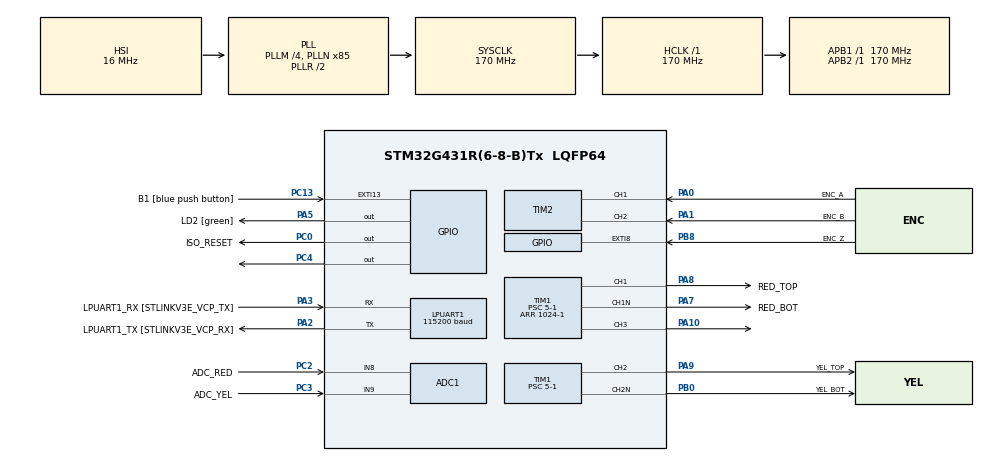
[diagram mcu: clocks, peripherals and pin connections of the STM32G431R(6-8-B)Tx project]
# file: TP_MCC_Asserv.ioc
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ADC1.Channel-1\#ChannelRegularConversion=ADC_CHANNEL_8
ADC1.Channel-4\#ChannelRegularConversion=ADC_CHANNEL_9
ADC1.ContinuousConvMode=DISABLE
ADC1.DMAContinuousRequests=ENABLE
ADC1.DiscontinuousConvMode=ENABLE
ADC1.EOCSelection=ADC_EOC_SEQ_CONV
ADC1.ExternalTrigConv=ADC_EXTERNALTRIG_T1_CC3
ADC1.NbrOfConversion=2
ADC1.NbrOfConversionFlag=1
ADC1.OffsetNumber-1\#ChannelRegularConversion=ADC_OFFSET_NONE
ADC1.OffsetNumber-4\#ChannelRegularConversion=ADC_OFFSET_NONE
ADC1.Rank-1\#ChannelRegularConversion=1
ADC1.Rank-4\#ChannelRegularConversion=2
ADC1.SamplingTime-1\#ChannelRegularConversion=ADC_SAMPLETIME_92CYCLES_5
ADC1.SamplingTime-4\#ChannelRegularConversion=ADC_SAMPLETIME_92CYCLES_5
ADC1.master=1
Dma.ADC1.0.Direction=DMA_PERIPH_TO_MEMORY
Dma.ADC1.0.EventEnable=DISABLE
Dma.ADC1.0.Instance=DMA1_Channel1
Dma.ADC1.0.MemDataAlignment=DMA_MDATAALIGN_WORD
Dma.ADC1.0.MemInc=DMA_MINC_ENABLE
Dma.ADC1.0.Mode=DMA_CIRCULAR
Dma.ADC1.0.PeriphDataAlignment=DMA_PDATAALIGN_WORD
Dma.ADC1.0.PeriphInc=DMA_PINC_DISABLE
Dma.ADC1.0.Polarity=HAL_DMAMUX_REQ_GEN_RISING
Dma.ADC1.0.Priority=DMA_PRIORITY_LOW
Dma.ADC1.0.RequestNumber=1
Dma.ADC1.0.SignalID=NONE
Dma.ADC1.0.SyncEnable=DISABLE
Dma.ADC1.0.SyncPolarity=HAL_DMAMUX_SYNC_NO_EVENT
Dma.ADC1.0.SyncRequestNumber=1
Dma.ADC1.0.SyncSignalID=NONE
Dma.Request0=ADC1
LPUART1.BaudRate=115200
LPUART1.WordLength=UART_WORDLENGTH_8B
Mcu.Family=STM32G4
Mcu.Name=STM32G431R(6-8-B)Tx
Mcu.Package=LQFP64
NVIC.ADC1_2_IRQn=true\:0\:0\:false\:false\:true\:true\:true
NVIC.DMA1_Channel1_IRQn=true\:0\:0\:false\:false\:true\:false\:true
NVIC.EXTI15_10_IRQn=true\:0\:0\:false\:false\:true\:true\:true
NVIC.EXTI9_5_IRQn=true\:0\:0\:false\:false\:true\:true\:true
NVIC.LPUART1_IRQn=true\:0\:0\:false\:false\:true\:true\:true
NVIC.PriorityGroup=NVIC_PRIORITYGROUP_4
NVIC.TIM6_DAC_IRQn=true\:0\:0\:false\:false\:true\:true\:true
NVIC.TIM7_IRQn=true\:0\:0\:false\:false\:true\:true\:true
PA0.GPIO_Label=ENC_A
PA0.Signal=S_TIM2_CH1
PA1.GPIO_Label=ENC_B
PA1.Signal=S_TIM2_CH2
PA10.Signal=S_TIM1_CH3
PA13.GPIO_Label=T_SWDIO
PA13.Mode=Serial_Wire
PA13.Signal=SYS_JTMS-SWDIO
PA14.GPIO_Label=T_SWCLK
PA14.Mode=Serial_Wire
PA14.Signal=SYS_JTCK-SWCLK
PA2.GPIO_Label=LPUART1_TX [STLINKV3E_VCP_RX]
PA2.Mode=Asynchronous
PA2.Signal=LPUART1_TX
PA3.GPIO_Label=LPUART1_RX [STLINKV3E_VCP_TX]
PA3.Mode=Asynchronous
PA3.Signal=LPUART1_RX
PA5.GPIO_Label=LD2 [green]
PA5.Signal=GPIO_Output
PA7.GPIO_Label=RED_BOT
PA7.Mode=PWM Generation1 CH1 CH1N
PA7.Signal=TIM1_CH1N
PA8.GPIO_Label=RED_TOP
PA8.Signal=S_TIM1_CH1
PA9.GPIO_Label=YEL_TOP
PA9.Signal=S_TIM1_CH2
PB0.GPIO_Label=YEL_BOT
PB0.Mode=PWM Generation2 CH2 CH2N
PB0.Signal=TIM1_CH2N
PB3.GPIO_Label=T_SWO
PB3.Signal=SYS_JTDO-SWO
PB8-BOOT0.GPIO_Label=ENC_Z
PB8-BOOT0.Signal=GPXTI8
PC0.GPIO_Label=ISO_RESET
PC0.Signal=GPIO_Output
PC13.GPIO_Label=B1 [blue push button]
PC13.Signal=GPXTI13
PC14-OSC32_IN.Mode=LSE-External-Oscillator
PC14-OSC32_IN.Signal=RCC_OSC32_IN
PC15-OSC32_OUT.Mode=LSE-External-Oscillator
PC15-OSC32_OUT.Signal=RCC_OSC32_OUT
PC2.GPIO_Label=ADC_RED
PC2.Mode=IN8-Single-Ended
PC2.Signal=ADC1_IN8
PC3.GPIO_Label=ADC_YEL
PC3.Mode=IN9-Single-Ended
PC3.Signal=ADC1_IN9
PC4.Signal=GPIO_Output
PF0-OSC_IN.Mode=HSE-External-Oscillator
PF0-OSC_IN.Signal=RCC_OSC_IN
PF1-OSC_OUT.Mode=HSE-External-Oscillator
PF1-OSC_OUT.Signal=RCC_OSC_OUT
ProjectManager.HeapSize=0x200
ProjectManager.StackSize=0x400
ProjectManager.TargetToolchain=STM32CubeIDE
RCC.ADC12Freq_Value=170000000
RCC.AHBFreq_Value=170000000
RCC.APB1Freq_Value=170000000
RCC.APB1TimFreq_Value=170000000
RCC.APB2Freq_Value=170000000
RCC.APB2TimFreq_Value=170000000
RCC.CortexFreq_Value=170000000
RCC.EXTERNAL_CLOCK_VALUE=12288000
RCC.HCLKFreq_Value=170000000
RCC.HSE_VALUE=24000000
RCC.HSI48_VALUE=48000000
RCC.HSI_VALUE=16000000
RCC.PLLM=RCC_PLLM_DIV4
RCC.PLLN=85
RCC.RTCClockSelection=RCC_RTCCLKSOURCE_LSE
RCC.SYSCLKFreq_VALUE=170000000
RCC.SYSCLKSource=RCC_SYSCLKSOURCE_PLLCLK
RCC.USBFreq_Value=170000000
RCC.VCOOutputFreq_Value=340000000
SH.S_TIM1_CH1.0=TIM1_CH1,PWM Generation1 CH1 CH1N
SH.S_TIM1_CH2.0=TIM1_CH2,PWM Generation2 CH2 CH2N
SH.S_TIM1_CH3.0=TIM1_CH3,Output Compare3 CH3
SH.S_TIM2_CH1.0=TIM2_CH1,Encoder_Interface
SH.S_TIM2_CH2.0=TIM2_CH2,Encoder_Interface
TIM1.Channel-Output\ Compare3\ CH3=TIM_CHANNEL_3
TIM1.Channel-PWM\ Generation1\ CH1\ CH1N=TIM_CHANNEL_1
TIM1.Channel-PWM\ Generation2\ CH2\ CH2N=TIM_CHANNEL_2
TIM1.CounterMode=TIM_COUNTERMODE_CENTERALIGNED1
TIM1.DeadTime=203
TIM1.OC3Preload-Output\ Compare3\ CH3=DISABLE
TIM1.OCMode_3=TIM_OCMODE_TOGGLE
TIM1.OCMode_PWM-PWM\ Generation2\ CH2\ CH2N=TIM_OCMODE_PWM1
TIM1.OCPolarity_3=TIM_OCPOLARITY_HIGH
TIM1.PeriodNoDither=1024-1
TIM1.Prescaler=5-1
TIM1.PulseNoDither_1=0
TIM1.PulseNoDither_2=0
TIM1.PulseNoDither_3=0
TIM1.TIM_MasterOutputTrigger=TIM_TRGO_OC3REF
TIM1.TIM_MasterOutputTrigger2=TIM_TRGO2_RESET
TIM2.EncoderMode=TIM_ENCODERMODE_TI12
TIM6.PeriodNoDither=200-1
TIM6.Prescaler=17000-1
TIM7.PeriodNoDither=20-1
TIM7.Prescaler=17000-1
VP_SYS_VS_DBSignals.Mode=DisableDeadBatterySignals
VP_TIM6_VS_ClockSourceINT.Mode=Enable_Timer
VP_TIM7_VS_ClockSourceINT.Mode=Enable_Timer
board=NUCLEO-G431RB

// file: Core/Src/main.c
/* USER CODE BEGIN Header */
/**
 ******************************************************************************
 * @file           : main.c
 * @brief          : Main program body
 ******************************************************************************
 * @attention
 *
 * <h2><center>&copy; Copyright (c) 2021 STMicroelectronics.
 * All rights reserved.</center></h2>
 *
 * This software component is licensed by ST under BSD 3-Clause license,
 * the "License"; You may not use this file except in compliance with the
 * License. You may obtain a copy of the License at:
 *                        opensource.org/licenses/BSD-3-Clause
 *
 ******************************************************************************
 */
/* USER CODE END Header */
#include "main.h"
#include "adc.h"
#include "dma.h"
#include "usart.h"
#include "tim.h"
#include "gpio.h"

/* USER CODE BEGIN Includes */
#include <stdio.h>
#include <stdlib.h>
#include <math.h>
#include <myShell.h>
/* USER CODE END Includes */

/* USER CODE BEGIN PM */
#define ENC_TICKS_PER_REV 4000
#define ENC_FREQ_ECH 50
/* USER CODE END PM */

/* USER CODE BEGIN PV */
uint8_t power = 0; // État de l'etage de puissance
uint8_t it_btn_ready = 0;

int32_t ticks = 0;

uint32_t adc_value[3] = {0,0,0};
float red_current = 0, yel_current = 0, diff_current = 0;

float consigneU = 0, consigneI = 2.0;
float sI_moins = 0, erreurI_moins;
float s = 0;
/* USER CODE END PV */

void SystemClock_Config(void);

/* USER CODE BEGIN 0 */

/**
 * pinout : Affiche toutes les broches connectées et leur fonction
 * @param argc Nombre d'éléments de la ligne de commande
 * @param argv Éléments sous la forme d'un tableau de chaînes de caractères
 * @return 0
 */
int pinout(int argc, char ** argv){
	printf(" +-------------------------------------+ \r\n");
	printf(" |               PINOUT                | \r\n");
	printf(" +-------------------------------------+ \r\n");
	printf(" | STM32                | HACHEUR      | \r\n");
	printf(" +-------------------------------------+ \r\n");
	printf(" | TIM1_CH2  | PA9(D8)  | YEL_TOP | 12 | \r\n");
	printf(" | TIM1_CH1  | PA8(D7)  | RED_TOP | 13 | \r\n");
	printf(" | ADC1_IN9  | PC3      | YEL_HAL | 16 | \r\n");
	printf(" | TIM1_CH2N | PB0(A3)  | YEL_BOT | 30 | \r\n");
	printf(" | TIM1_CH1N | PA7(D11) | RED_BOT | 31 | \r\n");
	printf(" | GPIO EXTI | PC0(A5)  | ISO_RST | 33 | \r\n");
	printf(" | ADC1_IN8  | PC2      | RED_HAL | 35 | \r\n");
	printf(" | GPIO EXTI | PC13(BTN)|         |    |\r\n");
	printf(" +-------------------------------------+ \r\n");
	printf(" | STM32                | ENCODEUR     | \r\n");
	printf(" +-------------------------------------+ \r\n");
	printf(" | TIM2_CH1  | PA0(A0)  | A            | \r\n");
	printf(" | TIM2_CH2  | PA1(A1)  | B            | \r\n");
	printf(" | GPIO EXTI | PB8(D15) | Z            | \r\n");
	printf(" +-------------------------------------+ \r\n");
	printf(" |                 /!\\                 | \r\n");
	printf(" | Les indications des broches sur la  | \r\n");
	printf(" | carte interface sont erronees.      | \r\n");
	printf(" +-------------------------------------+ \r\n");

	return 0;
}

/**
 * start : Allume l’étage de puissance du moteur
 * @param argc Nombre d'éléments de la ligne de commande
 * @param argv Eléments sous la forme d'un tableau de chaînes de caractères
 * @return 0
 */
int start(int argc, char ** argv){
	printf("Power ON\r\n");
	power = 1;

	// Il faut mettre la broche ISO RESET à l'état haut pendant 2µs min
	HAL_GPIO_WritePin(GPIOC, GPIO_PIN_4, 1);
	HAL_Delay(1);
	HAL_GPIO_WritePin(GPIOC, GPIO_PIN_4, 0);

	// Démarrage du timer pour la génération de signaux PWM
	HAL_TIM_PWM_Start(&htim1, TIM_CHANNEL_1);
	HAL_TIMEx_PWMN_Start(&htim1, TIM_CHANNEL_1);
	HAL_TIM_PWM_Start(&htim1, TIM_CHANNEL_2);
	HAL_TIMEx_PWMN_Start(&htim1, TIM_CHANNEL_2);

	// Signal pour le déclenchement de la mesure
	HAL_TIM_OC_Start(&htim1, TIM_CHANNEL_3);

	return 0;
}

/**
 * stop : Éteint l’étage de puissance du moteur en coupant les signaux de commande
 * @param argc Nombre d'éléments de la ligne de commande
 * @param argv Eléments sous la forme d'un tableau de chaînes de caractères
 * @return 0
 */
int stop(int argc, char ** argv){
	printf("Power OFF\r\n");
	power = 0;

	// Extinction du timer pour la génération de signaux PWM
	HAL_TIM_PWM_Stop(&htim1, TIM_CHANNEL_1);
	HAL_TIMEx_PWMN_Stop(&htim1, TIM_CHANNEL_1);
	HAL_TIM_PWM_Stop(&htim1, TIM_CHANNEL_2);
	HAL_TIMEx_PWMN_Stop(&htim1, TIM_CHANNEL_2);

	HAL_TIM_OC_Stop(&htim1, TIM_CHANNEL_3);

	return 0;
}

/**
 * sh_speed : Modification du rapport cyclique depuis le shell
 * @param argc Nombre d'éléments de la ligne de commande
 * @param argv Eléments sous la forme d'un tableau de chaînes de caractères
 * @return 0
 */
int sh_speed(int argc, char ** argv){
	if(argc == 2){
		float duty_cycle = atof(argv[1]);
		printf("Rapport cyclique = %f\r\n",duty_cycle);

		if(duty_cycle < 0) duty_cycle = 0;
		else if(duty_cycle > 80) duty_cycle = 80;

		float cmd = 1023 * (duty_cycle/100);
		TIM1->CCR1 = (int)cmd;
		printf("cmd  = %d\r\n",(int)cmd);

		float cmdn = 1023 - cmd;
		TIM1->CCR2 = (int)cmdn;
		printf("cmdn = %d\r\n",(int)cmdn);
	}

	return 0;
}

/**
 * speed : Modification du rapport cyclique depuis le code
 * @param duty_cycle Nouveau rapport cyclique
 * @return 0
 */
int speed(float duty_cycle){
	if(duty_cycle < 0) duty_cycle = 0;
	else if(duty_cycle > 80) duty_cycle = 80;

	float cmd = 1023 * (duty_cycle/100);
	TIM1->CCR1 = (int)cmd;

	float cmdn = 1023 - cmd;
	TIM1->CCR2 = (int)cmdn;

	return 0;
}

/* USER CODE END 0 */

int main(void)
{

	/* MCU Configuration--------------------------------------------------------*/

	/* Reset of all peripherals, Initializes the Flash interface and the Systick. */
	HAL_Init();

	/* Configure the system clock */
	SystemClock_Config();

	/* Initialize all configured peripherals */
	MX_GPIO_Init();
	MX_LPUART1_UART_Init();
	MX_TIM1_Init();
	MX_TIM2_Init();
	MX_TIM6_Init();
	MX_DMA_Init();
	MX_ADC1_Init();
	MX_TIM7_Init();
	/* USER CODE BEGIN 2 */

	/* Configuration et démarrage du Shell --------------*/
	shell_init(&hlpuart1);
	shell_add("pinout", pinout, "Broches utilisees avec leur fonction");
	shell_add("start", start, "Allumage etage de puissance du moteur");
	shell_add("stop", stop, "Extinction etage de puissance du moteur");
	shell_add("speed", sh_speed, "(Test) Modification de la vitesse du moteur");

	/* Initialisation des PWM à 60% ---------------------*/
	TIM1->CCR1 = 614;
	TIM1->CCR2 = 1023-614;

	/* Initialisation du CCR pour Channel 3 du TIM1 -----*/
	TIM1->CCR3 = 64;

	/* Démarrage des timers génériques ------------------*/
	HAL_TIM_Base_Start_IT(&htim6);
	HAL_TIM_Base_Start_IT(&htim7);

	/* Démarrage du Timer 2 en encoder mode -------------*/
	HAL_TIM_Encoder_Start(&htim2, TIM_CHANNEL_1 || TIM_CHANNEL_2);

	/* Démarrage de l'ADC avec le DMA -------------------*/
	HAL_ADCEx_Calibration_Start(&hadc1, ADC_SINGLE_ENDED);
	HAL_ADC_Start_DMA(&hadc1, adc_value, 2);

	/* USER CODE END 2 */

	/* Infinite loop */
	/* USER CODE BEGIN WHILE */
	while (1)
	{
		/* Traitement du shell ------------------------------*/
		if(it_uart_rx_ready){
			shell_char_received();
			it_uart_rx_ready = 0;
		}

		/* Traitement de l'appui bouton bleu ----------------*/
		if(it_btn_ready){
			if(power == 1)
				stop(0, NULL);
			else
				start(0, NULL);
			it_btn_ready = 0;
		}

		/* (Test) Calcul du courant traversant le moteur ----*/
		//red_current = (((float)adc_value[0] * (3.3/4096.0)) - 2.5) * 12.0;
		//yel_current = (((float)adc_value[1] * (3.3/4096.0)) - 2.5) * 12.0;
		//diff_current = (yel_current - red_current * (-1)) / 2 + red_current * (-1);
		//printf("red = %.2fA\tyel = %.2fA\tdif = %.2fA\r\n", red_current, yel_current, diff_current);
		//printf("dif = %.2fA\ts = %.2f\r\n", diff_current, s);

		HAL_Delay(100);

		/* USER CODE END WHILE */

	}
}

void SystemClock_Config(void)
{
	RCC_OscInitTypeDef RCC_OscInitStruct = {0};
	RCC_ClkInitTypeDef RCC_ClkInitStruct = {0};
	RCC_PeriphCLKInitTypeDef PeriphClkInit = {0};

	/** Configure the main internal regulator output voltage
	 */
	HAL_PWREx_ControlVoltageScaling(PWR_REGULATOR_VOLTAGE_SCALE1_BOOST);
	/** Initializes the RCC Oscillators according to the specified parameters
	 * in the RCC_OscInitTypeDef structure.
	 */
	RCC_OscInitStruct.OscillatorType = RCC_OSCILLATORTYPE_HSI;
	RCC_OscInitStruct.HSIState = RCC_HSI_ON;
	RCC_OscInitStruct.HSICalibrationValue = RCC_HSICALIBRATION_DEFAULT;
	RCC_OscInitStruct.PLL.PLLState = RCC_PLL_ON;
	RCC_OscInitStruct.PLL.PLLSource = RCC_PLLSOURCE_HSI;
	RCC_OscInitStruct.PLL.PLLM = RCC_PLLM_DIV4;
	RCC_OscInitStruct.PLL.PLLN = 85;
	RCC_OscInitStruct.PLL.PLLP = RCC_PLLP_DIV2;
	RCC_OscInitStruct.PLL.PLLQ = RCC_PLLQ_DIV2;
	RCC_OscInitStruct.PLL.PLLR = RCC_PLLR_DIV2;
	if (HAL_RCC_OscConfig(&RCC_OscInitStruct) != HAL_OK)
	{
		Error_Handler();
	}
	/** Initializes the CPU, AHB and APB buses clocks
	 */
	RCC_ClkInitStruct.ClockType = RCC_CLOCKTYPE_HCLK|RCC_CLOCKTYPE_SYSCLK
			|RCC_CLOCKTYPE_PCLK1|RCC_CLOCKTYPE_PCLK2;
	RCC_ClkInitStruct.SYSCLKSource = RCC_SYSCLKSOURCE_PLLCLK;
	RCC_ClkInitStruct.AHBCLKDivider = RCC_SYSCLK_DIV1;
	RCC_ClkInitStruct.APB1CLKDivider = RCC_HCLK_DIV1;
	RCC_ClkInitStruct.APB2CLKDivider = RCC_HCLK_DIV1;

	if (HAL_RCC_ClockConfig(&RCC_ClkInitStruct, FLASH_LATENCY_4) != HAL_OK)
	{
		Error_Handler();
	}
	/** Initializes the peripherals clocks
	 */
	PeriphClkInit.PeriphClockSelection = RCC_PERIPHCLK_LPUART1|RCC_PERIPHCLK_ADC12;
	PeriphClkInit.Lpuart1ClockSelection = RCC_LPUART1CLKSOURCE_PCLK1;
	PeriphClkInit.Adc12ClockSelection = RCC_ADC12CLKSOURCE_SYSCLK;
	if (HAL_RCCEx_PeriphCLKConfig(&PeriphClkInit) != HAL_OK)
	{
		Error_Handler();
	}
}

/* USER CODE BEGIN 4 */

void HAL_GPIO_EXTI_Callback(uint16_t GPIO_Pin){
	if(GPIO_Pin == GPIO_PIN_13){
		it_btn_ready = 1;
	}

	if(GPIO_Pin == GPIO_PIN_8){
		/*
		// Mesure du nombre de ticks par tour ---------------
		ticks = TIM2->CNT;
		TIM2->CNT = 0;
		if(hacheurStart) printf("ticks/tour = %d\r\n",(int)ticks);
		 */
	}
}

void HAL_ADC_ConvCpltCallback(ADC_HandleTypeDef* hadc){
	if(hadc->Instance == ADC1){
		// Empty
	}
}

void HAL_TIM_PeriodElapsedCallback(TIM_HandleTypeDef *htim){
	if(htim->Instance == TIM7){
		/* Boucle de courant --------------------------------*/

		// Conversion de la mesure de l'ADC en courant
		red_current = (((float)adc_value[0] * (3.3/4096.0)) - 2.5) * 12.0;
		yel_current = (((float)adc_value[1] * (3.3/4096.0)) - 2.5) * 12.0;
		diff_current = (yel_current - red_current * (-1)) / 2 + red_current * (-1);

		// Calcul de la commande
		float erreurI = consigneI - diff_current;
		s = erreurI * 0.8 +
				sI_moins + 0.1 * (erreurI + erreurI_moins) * (1 / 2 * 500);

		// Saturation de la commande
		if (fabs(s) >= 70) s = 70;

		// Mémorisation des valeurs calculées
		sI_moins = s;
		erreurI_moins = erreurI;

		// Mise à jour des signaux PWM avec la nouvelle commande
		speed(s);
	}

	if(htim->Instance == TIM6){
		/* Boucle de vitesse --------------------------------*/
		// Ne fait que la mesure de vitesse

		ticks = TIM2->CNT;
		TIM2->CNT = 0;

		float vit = ((float)ticks * 2 * M_PI * ENC_FREQ_ECH) / (float)ENC_TICKS_PER_REV;

		if(power){
			//printf("ticks = %d\r\n",ticks);
			//printf("vit = %f rad/s\r\n",vit);
		}
	}
}

void HAL_UART_RxCpltCallback(UART_HandleTypeDef *huart){
	if(huart->Instance == LPUART1){
		// La fonction d'interruption ne fait que modifier it_uart_rx_ready
		it_uart_rx_ready = 1;
		HAL_UART_Receive_IT(&hlpuart1, (uint8_t*)&c, 1);
	}
}

/* USER CODE END 4 */

void Error_Handler(void)
{
	__disable_irq();
	while (1)
	{
	}
}

/************************ (C) COPYRIGHT STMicroelectronics *****END OF FILE****/
